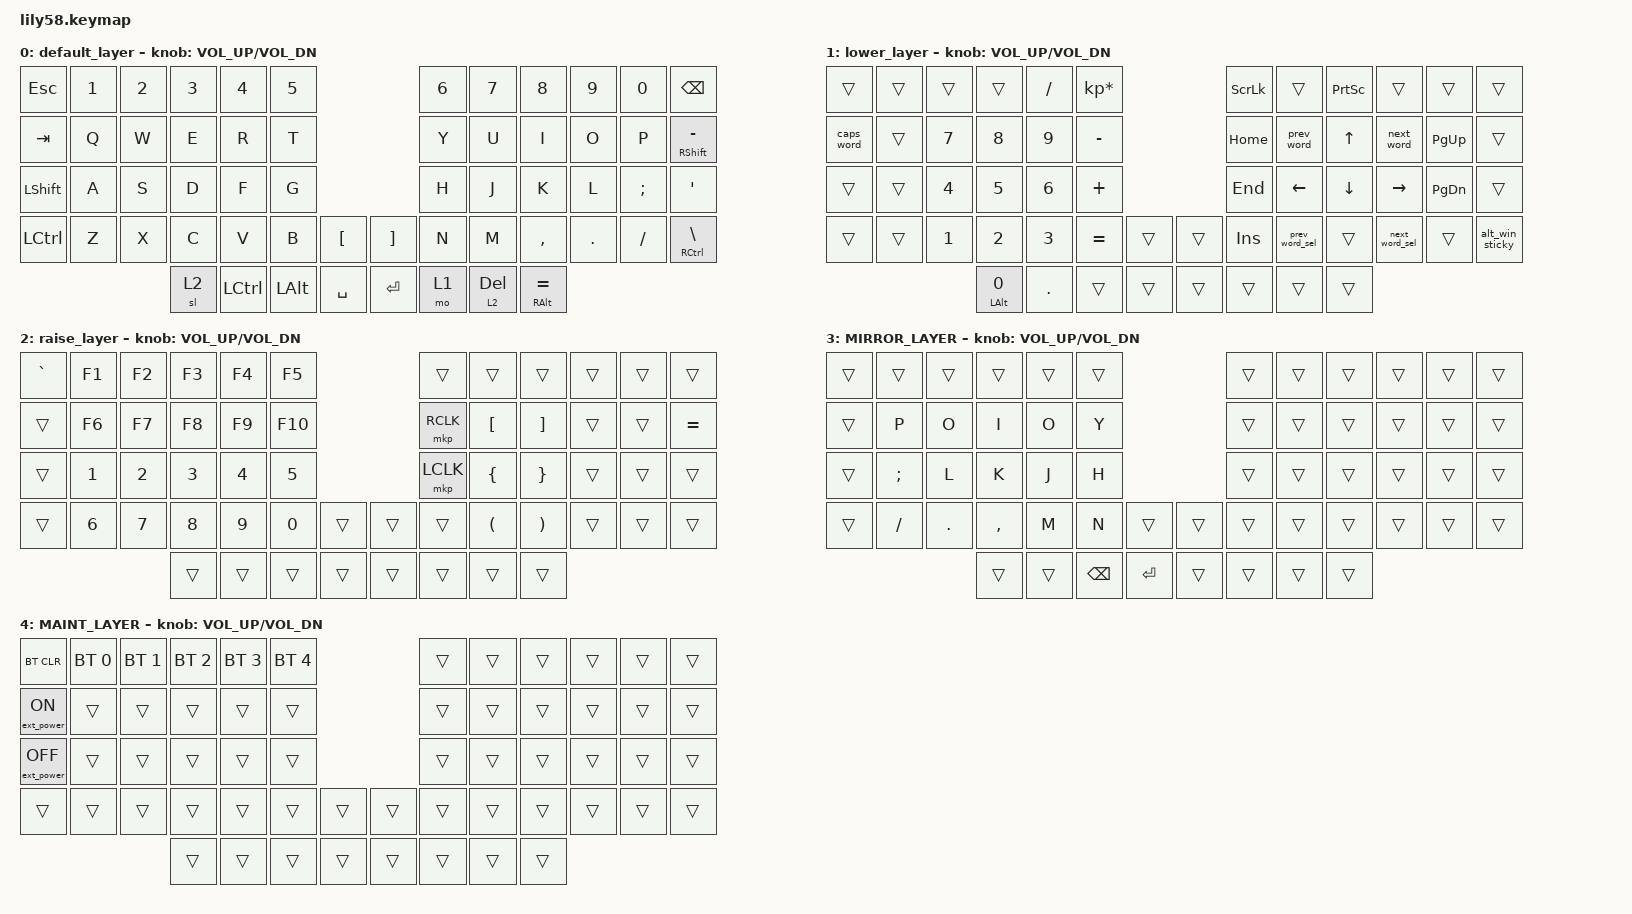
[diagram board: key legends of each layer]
/*
 * Copyright (c) 2020 The ZMK Contributors
 *
 * SPDX-License-Identifier: MIT
 */

#include <dt-bindings/zmk/mouse.h>
#include <behaviors.dtsi>
#include <dt-bindings/zmk/bt.h>
#include <dt-bindings/zmk/ext_power.h>
#include <dt-bindings/zmk/keys.h>
#include <dt-bindings/zmk/pointing.h>

/ {
    macros {
        prev_word: prev_word {
            compatible = "zmk,behavior-macro";
            label = "Previous Word";
            #binding-cells = <0>;
            bindings =
                <&macro_press>,
                <&kp RCTRL>,
                <&macro_tap>,
                <&kp LEFT>,
                <&macro_release>,
                <&kp RCTRL>;

            tap-ms = <10>;
            wait-ms = <10>;
        };

        next_word: next_word {
            compatible = "zmk,behavior-macro";
            label = "Next Word";
            #binding-cells = <0>;
            bindings =
                <&macro_press>,
                <&kp RCTRL>,
                <&macro_tap>,
                <&kp RIGHT>,
                <&macro_release>,
                <&kp RCTRL>;

            tap-ms = <10>;
            wait-ms = <10>;
        };

        prev_word_sel: prev_word_sel {
            compatible = "zmk,behavior-macro";
            label = "Previous Word Select";
            #binding-cells = <0>;
            bindings =
                <&macro_press>,
                <&kp RCTRL &kp RSHFT>,
                <&macro_tap>,
                <&kp LEFT>,
                <&macro_release>,
                <&kp RCTRL &kp RSHFT>;

            tap-ms = <10>;
            wait-ms = <10>;
        };

        next_word_sel: next_word_sel {
            compatible = "zmk,behavior-macro";
            label = "Next Word Select";
            #binding-cells = <0>;
            bindings =
                <&macro_press>,
                <&kp RCTRL &kp RSHFT>,
                <&macro_tap>,
                <&kp RIGHT>,
                <&macro_release>,
                <&kp RCTRL &kp RSHFT>;

            tap-ms = <10>;
            wait-ms = <10>;
        };

        alt_win_sticky: alt_win_sticky {
            compatible = "zmk,behavior-macro";
            label = "alt_win_sticky";
            #binding-cells = <0>;
            bindings =
                <&macro_press>,
                <&kp LEFT_WIN &kp LEFT_ALT>,
                <&macro_pause_for_release>,
                <&macro_release>,
                <&kp LEFT_WIN &kp LEFT_ALT>;

            tap-ms = <10>;
            wait-ms = <10>;
        };
    };

    combos {
        compatible = "zmk,combos";

        new_combo {
            bindings = <&mo 4>;
            key-positions = <37 38>;
            layers = <0>;
        };
    };

    behaviors {
        double_tap_shift: double_tap_shift {
            compatible = "zmk,behavior-tap-dance";
            label = "DOUBLE_TAP_SHIFT";
            #binding-cells = <0>;
            bindings = <&kp LSHIFT>, <&caps_word>;
        };

        dt_sticky_layer_1: dt_sticky_layer_1 {
            compatible = "zmk,behavior-tap-dance";
            label = "DT_STICKY_LAYER_1";
            #binding-cells = <0>;
            bindings = <&mo 1>, <&tog 1>;
        };
    };

    keymap {
        compatible = "zmk,keymap";

        default_layer {
            // ------------------------------------------------------------------------------------------------------------
            // |  ESC  |  1  |  2  |  3   |  4   |  5   |                   |  6   |  7    |  8    |  9   |   0   |   `   |
            // |  TAB  |  Q  |  W  |  E   |  R   |  T   |                   |  Y   |  U    |  I    |  O   |   P   |   -   |
            // |  CTRL |  A  |  S  |  D   |  F   |  G   |                   |  H   |  J    |  K    |  L   |   ;   |   '   |
            // | SHIFT |  Z  |  X  |  C   |  V   |  B   |   "["  |  |  "]"  |  N   |  M    |  ,    |  .   |   /   | SHIFT |
            //                     | ALT  | GUI  | LOWER|  SPACE |  | ENTER | RAISE| BSPC  | GUI   |

            bindings = <
&kp ESC         &kp N1  &kp N2  &kp N3  &kp N4     &kp N5                                         &kp N6  &kp N7     &kp N8          &kp N9   &kp N0    &kp BACKSPACE
&kp TAB         &kp Q   &kp W   &kp E   &kp R      &kp T                                          &kp Y   &kp U      &kp I           &kp O    &kp P     &mt RIGHT_SHIFT MINUS
&kp LEFT_SHIFT  &kp A   &kp S   &kp D   &kp F      &kp G                                          &kp H   &kp J      &kp K           &kp L    &kp SEMI  &kp SINGLE_QUOTE
&kp LCTRL       &kp Z   &kp X   &kp C   &kp V      &kp B     &kp LEFT_BRACKET  &kp RIGHT_BRACKET  &kp N   &kp M      &kp COMMA       &kp DOT  &kp FSLH  &mt RCTRL BACKSLASH
                                &sl 2   &kp LCTRL  &kp LALT  &kp SPACE         &kp ENTER          &mo 1   &lt 2 DEL  &mt RALT EQUAL
            >;

            sensor-bindings = <&inc_dec_kp C_VOL_UP C_VOL_DN>;
        };

        lower_layer {
            // ------------------------------------------------------------------------------------------------------------
            // | BTCLR | BT1 | BT2 |  BT3 |  BT4 |  BT5 |                   |      |       |       |      |       |       |
            // |  F1   |  F2 |  F3 |  F4  |  F5  |  F6  |                   |  F7  |  F8   |  F9   |  F10 |  F11  |  F12  |
            // |   `   |  !  |  @  |  #   |  $   |  %   |                   |  ^   |  &    |  *    |  (   |   )   |   ~   |
            // |       |     |     |      |      |      |        |  |       |      |  _    |  +    |  {   |   }   |  "|"  |
            //                     |      |      |      |        |  |       |      |       |       |

            bindings = <
&trans      &trans  &trans  &trans       &kp SLASH   &kp KP_MULTIPLY                  &kp SCROLLLOCK  &trans          &kp PRINTSCREEN  &trans          &trans         &trans
&caps_word  &trans  &kp N7  &kp N8       &kp N9      &kp MINUS                        &kp HOME        &prev_word      &kp UP           &next_word      &kp PAGE_UP    &trans
&trans      &trans  &kp N4  &kp N5       &kp N6      &kp PLUS                         &kp END         &kp LEFT        &kp DOWN         &kp RIGHT       &kp PAGE_DOWN  &trans
&trans      &trans  &kp N1  &kp N2       &kp N3      &kp EQUAL        &trans  &trans  &kp INS         &prev_word_sel  &trans           &next_word_sel  &trans         &alt_win_sticky
                            &mt LALT N0  &kp PERIOD  &trans           &trans  &trans  &trans          &trans          &trans
            >;

            sensor-bindings = <&inc_dec_kp C_VOL_UP C_VOL_DN>;
        };

        raise_layer {
            // ------------------------------------------------------------------------------------------------------------
            // |       |     |     |      |      |      |                   |      |       |       |      |       |       |
            // |   `   |  1  |  2  |  3   |  4   |  5   |                   |  6   |   7   |   8   |  9   |   0   |       |
            // |   F1  |  F2 |  F3 |  F4  |  F5  |  F6  |                   |      |   <-  |   v   |  ^   |  ->   |       |
            // |   F7  |  F8 |  F9 |  F10 |  F11 |  F12 |        |  |       |  +   |   -   |   =   |  [   |   ]   |   \   |
            //                     |      |      |      |        |  |       |      |       |       |

            bindings = <
&kp GRAVE  &kp F1        &kp F2        &kp F3        &kp F4        &kp F5                   &trans     &trans    &trans    &trans  &trans  &trans
&trans     &kp F6        &kp F7        &kp F8        &kp F9        &kp F10                  &mkp RCLK  &kp LBKT  &kp RBKT  &trans  &trans  &kp EQUAL
&trans     &kp NUMBER_1  &kp NUMBER_2  &kp NUMBER_3  &kp NUMBER_4  &kp N5                   &mkp LCLK  &kp LBRC  &kp RBRC  &trans  &trans  &trans
&trans     &kp NUMBER_6  &kp N7        &kp N8        &kp N9        &kp N0   &trans  &trans  &trans     &kp LPAR  &kp RPAR  &trans  &trans  &trans
                                       &trans        &trans        &trans   &trans  &trans  &trans     &trans    &trans
            >;

            sensor-bindings = <&inc_dec_kp C_VOL_UP C_VOL_DN>;
        };

        MIRROR_LAYER {
            bindings = <
&trans  &trans         &trans      &trans     &trans  &trans                            &trans  &trans  &trans  &trans  &trans  &trans
&trans  &kp P          &kp O       &kp I      &kp O   &kp Y                             &trans  &trans  &trans  &trans  &trans  &trans
&trans  &kp SEMICOLON  &kp L       &kp K      &kp J   &kp H                             &trans  &trans  &trans  &trans  &trans  &trans
&trans  &kp SLASH      &kp PERIOD  &kp COMMA  &kp M   &kp N          &trans     &trans  &trans  &trans  &trans  &trans  &trans  &trans
                                   &trans     &trans  &kp BACKSPACE  &kp ENTER  &trans  &trans  &trans  &trans
            >;

            sensor-bindings = <&inc_dec_kp C_VOL_UP C_VOL_DN>;
        };

        MAINT_LAYER {
            bindings = <
&bt BT_CLR         &bt BT_SEL 0  &bt BT_SEL 1  &bt BT_SEL 2  &bt BT_SEL 3  &bt BT_SEL 4                  &trans  &trans  &trans  &trans  &trans  &trans
&ext_power EP_ON   &trans        &trans        &trans        &trans        &trans                        &trans  &trans  &trans  &trans  &trans  &trans
&ext_power EP_OFF  &trans        &trans        &trans        &trans        &trans                        &trans  &trans  &trans  &trans  &trans  &trans
&trans             &trans        &trans        &trans        &trans        &trans        &trans  &trans  &trans  &trans  &trans  &trans  &trans  &trans
                                               &trans        &trans        &trans        &trans  &trans  &trans  &trans  &trans
            >;

            sensor-bindings = <&inc_dec_kp C_VOL_UP C_VOL_DN>;
        };
    };
};
